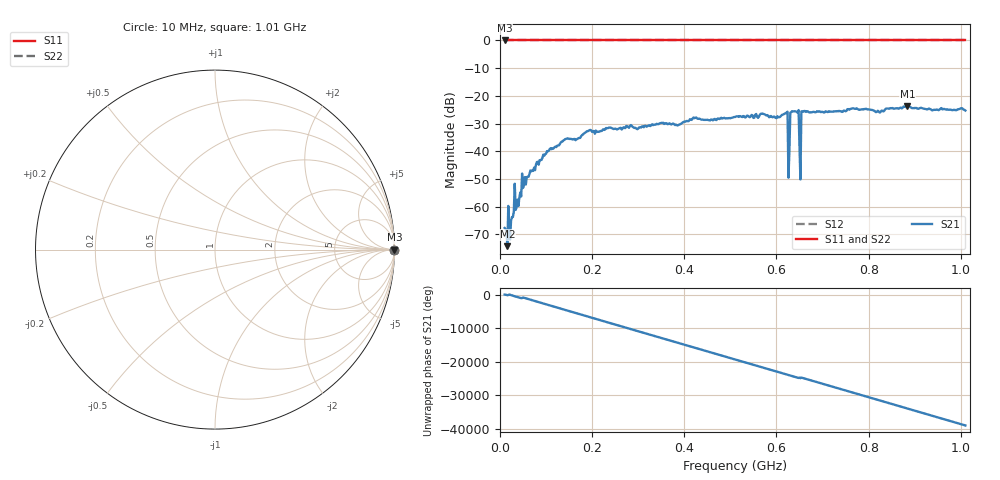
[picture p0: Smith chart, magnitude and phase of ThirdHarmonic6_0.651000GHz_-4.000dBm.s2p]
! 8/15/2025 9:35:21 PM
! C:\ANRITSUVNA\TEMP\TEMP.S2P
! CHANNEL.1
! TR.MEASUREMENT
! RAW.DATA
! RF.CORRECTION.OFF
! AVERAGING.OFF
! IF.BANDWIDTH: 5KHZ
! SWEEPTYPE:  FREQ.SWEEP(Linear)
! Reference Plane Port Info
! PORT:  PORT1  PORT2
! DISTANCE:  0  m  0  m
! TIME:  0  s  0  s
! PHASE.OFFSET:  0  deg.  0  deg.
! LOSS:  0  dB  0  dB
! REF.LOSS:  0  dB  0  dB
! REF.FREQ:  0  Hz  0  Hz
! Power Info
! POWER:  -20  dBm  -20  dBm
! EFF.POWER:  -20  dBm  -20  dBm
! SOURCE.ATTEN:  0  dB  0  dB
! TEST.ATTEN:  0  dB  0  dB
# GHZ S RI R 50.0
! FREQ.GHZ  S11RE  S11IM  S21RE  S21IM  S12RE  S12IM  S22RE  S22IM
!; PortSelection: Port_12
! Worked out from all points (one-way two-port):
!   501 points, 10 MHz to 1.01 GHz, reference 50 ohm
!   highest |S21| = -23.81 dB at 884 MHz (marker M1); lowest = -74.3 dB at 16 MHz (marker M2)
!   lowest |S11| = 0.0 dB at 10 MHz (marker M3)
!   |S11| at or under -10 dB: nowhere
!   |S22| runs from 0.0 to 0.0 dB; largest |S21 - S12| = 1.1
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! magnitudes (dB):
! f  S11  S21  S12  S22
! 10 MHz  0.0  -67.7  0.0  0.0
! 16 MHz  0.0  -74.3  0.0  0.0
! 24 MHz  0.0  -64.9  0.0  0.0
! 28 MHz  0.0  -63.8  0.0  0.0
! 52 MHz  0.0  -52.2  0.0  0.0
! 82 MHz  0.0  -43.8  0.0  0.0
! 142 MHz  0.0  -35.6  0.0  0.0
! 178 MHz  0.0  -34.2  0.0  0.0
! 344 MHz  0.0  -30.2  0.0  0.0
! 510 MHz  0.0  -27.7  0.0  0.0
! 620 MHz  0.0  -26.3  0.0  0.0
! 624 MHz  0.0  -25.7  0.0  0.0
! 630 MHz  0.0  -26.1  0.0  0.0
! 634 MHz  0.0  -25.6  0.0  0.0
! 644 MHz  0.0  -25.9  0.0  0.0
! 648 MHz  0.0  -25.2  0.0  0.0
! 654 MHz  0.0  -25.7  0.0  0.0
! 658 MHz  0.0  -25.8  0.0  0.0
! 678 MHz  0.0  -25.9  0.0  0.0
! 844 MHz  0.0  -24.6  0.0  0.0
! 884 MHz  0.0  -23.8  0.0  0.0
! 1.01 GHz  0.0  -25.3  0.0  0.0
